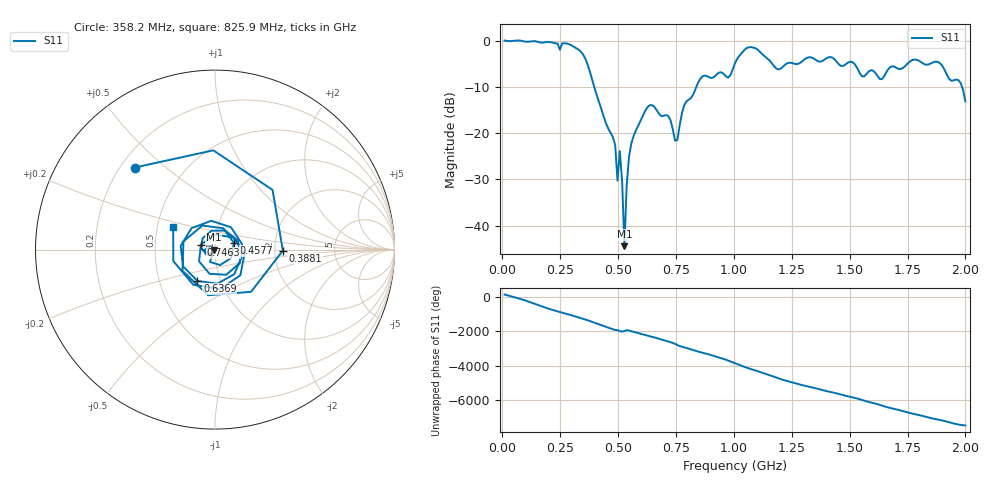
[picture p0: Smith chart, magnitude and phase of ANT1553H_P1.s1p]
!Created with skrf (http://scikit-rf.org).
# Hz S RI R 50.0
!freq ReS11 ImS11
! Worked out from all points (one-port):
!   201 points, 10 MHz to 2 GHz, reference 50 ohm
!   lowest |S11| = -44.4 dB at 527.4 MHz (marker M1), VSWR 1.01, Z = 49.4 - j0.085 ohm
!   |S11| at or under -10 dB: 397 MHz to 838 MHz (441.1 MHz wide, 71.4 % of centre); 1.985 GHz to end of sweep
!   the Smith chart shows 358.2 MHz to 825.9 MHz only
!   S11 on the Smith chart (normalised r, x): 358.2 MHz: 0.26, +0.40; 388.1 MHz: 2.22, -0.03; 457.8 MHz: 1.23, +0.09; 636.9 MHz: 0.78, -0.28; 746.3 MHz: 0.85, +0.05; 825.9 MHz: 0.60, +0.17
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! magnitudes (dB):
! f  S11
! 10 MHz  0.0
! 258.8 MHz  -0.6
! 358.2 MHz  -3.9
! 388.1 MHz  -8.4
! 457.8 MHz  -19.0
! 487.6 MHz  -22.6
! 497.6 MHz  -30.3
! 507.5 MHz  -23.9
! 517.5 MHz  -30.3
! 527.4 MHz  -44.4
! 537.4 MHz  -31.2
! 557.2 MHz  -22.2
! 636.9 MHz  -14.0
! 716.5 MHz  -16.3
! 746.3 MHz  -21.6
! 756.2 MHz  -21.4
! 786.1 MHz  -13.9
! 825.9 MHz  -11.5
! 1.005 GHz  -4.9
! 1.075 GHz  -1.4
! 1.184 GHz  -6.1
! 1.254 GHz  -4.9
! 1.502 GHz  -4.6
! 1.632 GHz  -8.4
! 1.751 GHz  -4.9
! 1.891 GHz  -4.9
! 1.98 GHz  -9.2
! 2 GHz  -13.1
